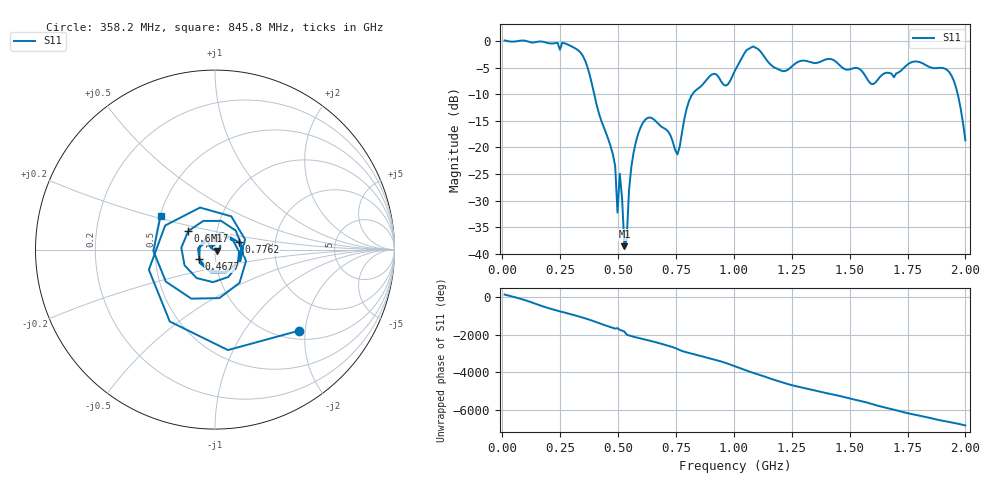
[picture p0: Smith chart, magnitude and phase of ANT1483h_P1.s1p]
!Created with skrf (http://scikit-rf.org).
# Hz S RI R 50.0
!freq ReS11 ImS11
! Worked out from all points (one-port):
!   201 points, 10 MHz to 2 GHz, reference 50 ohm
!   lowest |S11| = -38.6 dB at 527.4 MHz (marker M1), VSWR 1.02, Z = 51.1 - j0.543 ohm
!   |S11| at or under -10 dB: 396.9 MHz to 821.5 MHz (424.6 MHz wide, 69.7 % of centre); 1.967 GHz to end of sweep
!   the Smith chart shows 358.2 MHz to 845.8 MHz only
!   S11 on the Smith chart (normalised r, x): 358.2 MHz: 1.18, -1.85; 467.7 MHz: 0.83, -0.09; 656.8 MHz: 0.73, +0.16; 776.1 MHz: 1.30, +0.11; 845.8 MHz: 0.50, +0.22
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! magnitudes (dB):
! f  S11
! 10 MHz  0.1
! 258.8 MHz  -0.4
! 358.2 MHz  -3.7
! 467.7 MHz  -19.8
! 487.6 MHz  -23.6
! 497.6 MHz  -32.3
! 507.5 MHz  -24.9
! 517.5 MHz  -29.6
! 527.4 MHz  -38.6
! 537.4 MHz  -37.3
! 547.3 MHz  -28.1
! 557.2 MHz  -23.7
! 577.1 MHz  -18.9
! 617 MHz  -14.8
! 656.8 MHz  -14.8
! 756.2 MHz  -21.3
! 776.1 MHz  -17.2
! 806 MHz  -11.3
! 845.8 MHz  -9.0
! 1.005 GHz  -5.6
! 1.085 GHz  -1.0
! 1.254 GHz  -4.7
! 1.502 GHz  -5.3
! 1.602 GHz  -8.1
! 1.751 GHz  -4.4
! 1.93 GHz  -5.9
! 1.97 GHz  -10.6
! 2 GHz  -18.7
